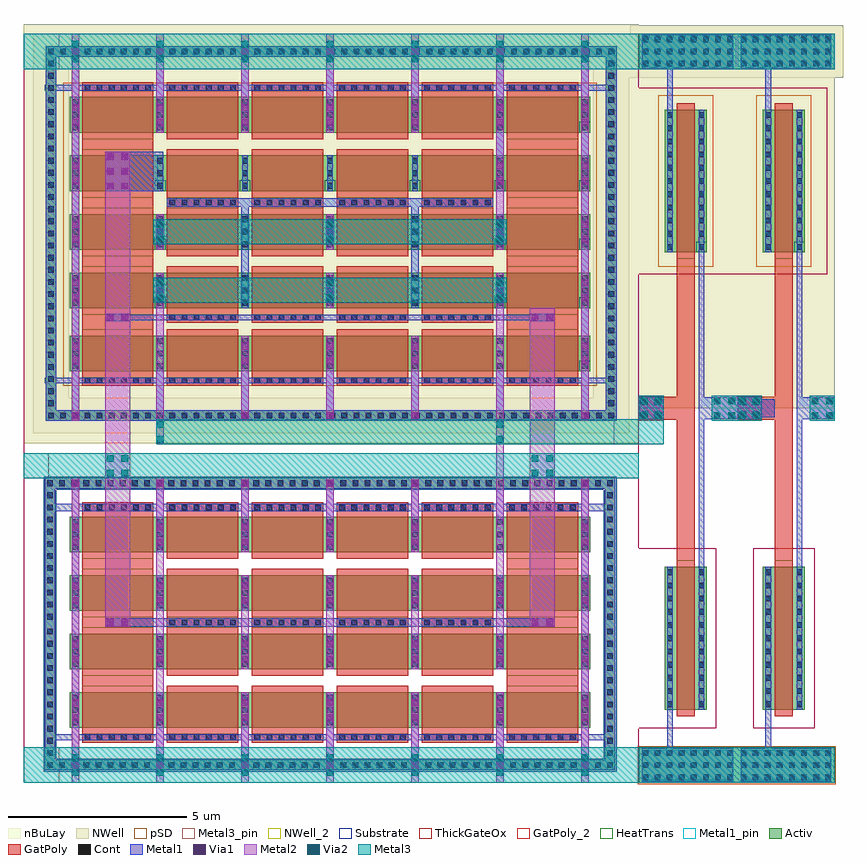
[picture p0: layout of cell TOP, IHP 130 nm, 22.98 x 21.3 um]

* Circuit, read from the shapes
.subckt TOP GND VDD
XM1 GND GND GND GND sg13_hv_nmos w=1u l=2u m=14
XM2 n1 FB_system_0/V_mem GND GND sg13_hv_nmos w=1u l=2u m=2
XM3 n2 FB_system_0/V_mem n1 GND sg13_hv_nmos w=1u l=2u m=2
XM4 n3 FB_system_0/V_mem n2 GND sg13_hv_nmos w=1u l=2u m=2
XM5 inv_1/in FB_system_0/V_mem n3 GND sg13_hv_nmos w=1u l=2u m=2
XM6 GND GND inv_1/in GND sg13_hv_nmos w=1u l=2u m=2
XM7 inv_2/in inv_1/in GND GND sg13_hv_nmos w=4u l=0.5u
XM8 inv_2/out inv_2/in GND GND sg13_hv_nmos w=4u l=0.5u
XM9 VDD VDD VDD VDD sg13_hv_pmos w=1u l=2u m=15
XM10 inv_1/in VDD VDD VDD sg13_hv_pmos w=1u l=2u m=2
XM11 FB_system_0/V_mem VDD VDD VDD sg13_hv_pmos w=1u l=2u
XM12 n4 FB_system_0/V_mem inv_1/in VDD sg13_hv_pmos w=1u l=2u m=4
XM13 n4 n4 VDD VDD sg13_hv_pmos w=1u l=2u m=4
XM14 n5 n4 FB_system_0/V_mem VDD sg13_hv_pmos w=1u l=2u
XM15 n6 n4 n5 VDD sg13_hv_pmos w=1u l=2u
XM16 n7 n4 n6 VDD sg13_hv_pmos w=1u l=2u
XM17 VDD n4 n7 VDD sg13_hv_pmos w=1u l=2u
XM18 inv_2/in inv_1/in VDD VDD sg13_hv_pmos w=4u l=0.5u
XM19 inv_2/out inv_2/in VDD VDD sg13_hv_pmos w=4u l=0.5u
.ends

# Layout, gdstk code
from math import pi, radians
import gdstk
lib = gdstk.Library(unit=1e-6, precision=1e-09)
def R(c, l, rs):  # rectangles x0, y0, x1, y1
    for r in rs: c.add(gdstk.rectangle(r[:2], r[2:], *l))
def A(c, l, x, y, w, h, nx, ny, dx, dy):  # array of equal rectangles
    R(c, l, [(x+i*dx, y+j*dy, x+i*dx+w, y+j*dy+h) for i in range(nx) for j in range(ny)])
def P(c, l, *ps):  # polygons
    for p in ps: c.add(gdstk.Polygon(p, *l))
Activ = (1, 0)
GatPoly = (5, 0)
GatPoly_2 = (5, 2)
Cont = (6, 0)
Metal1 = (8, 0)
Metal1_pin = (8, 2)
Metal2 = (10, 0)
pSD = (14, 0)
Via1 = (19, 0)
Via2 = (29, 0)
Metal3 = (30, 0)
Metal3_pin = (30, 2)
NWell = (31, 0)
NWell_2 = (31, 2)
nBuLay = (32, 0)
Substrate = (40, 0)
ThickGateOx = (44, 0)
HeatTrans = (51, 0)

guard_ring_1 = lib.new_cell('guard_ring$1')
R(guard_ring_1, Activ, [(-8,-4.95,-7.7,4.95), (7.7,-4.95,8,4.95), (-8,4.95,8,5.25)])
P(guard_ring_1, Activ, [(-8,-5.25),(-8,4.95),(-7.7,4.95),(-7.7,-4.95),(7.7,-4.95),(7.7,4.95),(-8,4.95),(-8,5.25),(8,5.25),(8,-5.25)])
A(guard_ring_1, Cont, -7.93, -5.18, 0.16, 0.16, 23, 2, 0.34, 10.2)
A(guard_ring_1, Cont, -0.05, -5.18, 0.16, 0.16, 24, 2, 0.34, 10.2)
A(guard_ring_1, Cont, -7.93, -4.84, 0.16, 0.16, 1, 29, 0, 0.34)
A(guard_ring_1, Cont, 7.77, -4.84, 0.16, 0.16, 1, 29, 0, 0.34)
R(guard_ring_1, Metal1, [(-8,-5.25,8,-4.95), (-8,-4.95,-7.7,4.95), (7.7,-4.95,8,4.95), (-8,4.95,8,5.25)])
R(guard_ring_1, NWell, [(-8.35,-5.6,8.35,5.6)])
R(guard_ring_1, nBuLay, [(-8.35,-4.6,-7.35,4.6), (7.35,-4.6,8.35,4.6), (-8.35,4.6,8.35,5.6)])
P(guard_ring_1, nBuLay, [(-8.35,-5.6),(-8.35,4.6),(-7.35,4.6),(-7.35,-4.6),(7.35,-4.6),(7.35,4.6),(-8.35,4.6),(-8.35,5.6),(8.35,5.6),(8.35,-5.6)])
guard_ring_1.add(gdstk.Label('well', (0,-5.1), layer=63, texttype=0))

via_stack = lib.new_cell('via_stack')
R(via_stack, Metal1, [(-0.105,-0.35,0.105,0.35)])
R(via_stack, Metal2, [(-0.1,-0.35,0.1,0.35)])
R(via_stack, Via1, [(-0.095,-0.3,0.095,-0.11), (-0.095,0.11,0.095,0.3)])

via_stack_1 = lib.new_cell('via_stack$1')
R(via_stack_1, Metal2, [(-0.1,-0.35,0.1,0.35)])
R(via_stack_1, Via2, [(-0.095,-0.3,0.095,-0.11), (-0.095,0.11,0.095,0.3)])
R(via_stack_1, Metal3, [(-0.1,-0.35,0.1,0.35)])

via_stack_2 = lib.new_cell('via_stack$2')
R(via_stack_2, Metal1, [(-0.145,-0.105,0.145,0.105)])
R(via_stack_2, Metal2, [(-0.145,-0.1,0.145,0.1)])
R(via_stack_2, Via1, [(-0.095,-0.095,0.095,0.095)])

pmoshv_2 = lib.new_cell('pmosHV$2')
A(pmoshv_2, Activ, 0, 0, 0.3, 0.3, 5, 1, 2.38, 0)
R(pmoshv_2, Activ, [(0,0,9.82,1)])
A(pmoshv_2, GatPoly, 0.34, -0.18, 2, 1.36, 4, 1, 2.38, 0)
R(pmoshv_2, GatPoly_2, [(0.34,-0.18,2.34,1.18)])
A(pmoshv_2, Cont, 0.07, 0.07, 0.16, 0.16, 5, 3, 2.38, 0.35)
A(pmoshv_2, Metal1, 0.07, 0, 0.16, 1, 5, 1, 2.38, 0)
R(pmoshv_2, Metal1_pin, [(0.07,0,0.23,1), (2.45,0,2.61,1)])
R(pmoshv_2, pSD, [(-0.18,-0.4,10,1.4)])
R(pmoshv_2, NWell, [(-0.62,-0.62,10.44,1.62)])
R(pmoshv_2, Substrate, [(9.52,0,9.82,0.3)])
R(pmoshv_2, ThickGateOx, [(-0.62,-0.62,10.44,1.62)])
A(pmoshv_2, HeatTrans, 0.34, -0.18, 2, 1.36, 4, 1, 2.38, 0)
pmoshv_2.add(gdstk.Label('pmosHV', (1.34,0.5), layer=63, texttype=0))
pmoshv_2.add(gdstk.Label('pmos', (1.34,0.5), layer=51, texttype=0))
pmoshv_2.add(gdstk.Label('pmos', (3.72,0.5), layer=51, texttype=0))
pmoshv_2.add(gdstk.Label('pmos', (6.1,0.5), layer=51, texttype=0))
pmoshv_2.add(gdstk.Label('pmos', (8.48,0.5), layer=51, texttype=0))

pmoshv_3 = lib.new_cell('pmosHV$3')
A(pmoshv_3, Activ, 0, 0, 0.3, 0.3, 7, 1, 2.38, 0)
R(pmoshv_3, Activ, [(0,0,14.58,1)])
A(pmoshv_3, GatPoly, 0.34, -0.18, 2, 1.36, 6, 1, 2.38, 0)
R(pmoshv_3, GatPoly_2, [(0.34,-0.18,2.34,1.18)])
A(pmoshv_3, Cont, 0.07, 0.07, 0.16, 0.16, 7, 3, 2.38, 0.35)
A(pmoshv_3, Metal1, 0.07, 0, 0.16, 1, 7, 1, 2.38, 0)
R(pmoshv_3, Metal1_pin, [(0.07,0,0.23,1), (2.45,0,2.61,1)])
R(pmoshv_3, pSD, [(-0.18,-0.4,14.76,1.4)])
R(pmoshv_3, NWell, [(-0.62,-0.62,15.2,1.62)])
R(pmoshv_3, Substrate, [(14.28,0,14.58,0.3)])
R(pmoshv_3, ThickGateOx, [(-0.62,-0.62,15.2,1.62)])
A(pmoshv_3, HeatTrans, 0.34, -0.18, 2, 1.36, 6, 1, 2.38, 0)
pmoshv_3.add(gdstk.Label('pmosHV', (1.34,0.5), layer=63, texttype=0))
pmoshv_3.add(gdstk.Label('pmos', (1.34,0.5), layer=51, texttype=0))
pmoshv_3.add(gdstk.Label('pmos', (3.72,0.5), layer=51, texttype=0))
pmoshv_3.add(gdstk.Label('pmos', (6.1,0.5), layer=51, texttype=0))
pmoshv_3.add(gdstk.Label('pmos', (8.48,0.5), layer=51, texttype=0))
pmoshv_3.add(gdstk.Label('pmos', (10.86,0.5), layer=51, texttype=0))
pmoshv_3.add(gdstk.Label('pmos', (13.24,0.5), layer=51, texttype=0))

pmoshv = lib.new_cell('pmosHV')
R(pmoshv, Activ, [(0,0,0.3,0.3), (0,0,2.68,1), (2.38,0,2.68,0.3)])
R(pmoshv, GatPoly, [(0.34,-0.18,2.34,1.18)])
R(pmoshv, GatPoly_2, [(0.34,-0.18,2.34,1.18)])
A(pmoshv, Cont, 0.07, 0.07, 0.16, 0.16, 1, 3, 0, 0.35)
A(pmoshv, Cont, 2.45, 0.07, 0.16, 0.16, 1, 3, 0, 0.35)
R(pmoshv, Metal1, [(0.07,0,0.23,1), (2.45,0,2.61,1)])
R(pmoshv, Metal1_pin, [(0.07,0,0.23,1), (2.45,0,2.61,1)])
R(pmoshv, pSD, [(-0.18,-0.4,2.86,1.4)])
R(pmoshv, NWell, [(-0.62,-0.62,3.3,1.62)])
R(pmoshv, Substrate, [(2.38,0,2.68,0.3)])
R(pmoshv, ThickGateOx, [(-0.62,-0.62,3.3,1.62)])
R(pmoshv, HeatTrans, [(0.34,-0.18,2.34,1.18)])
pmoshv.add(gdstk.Label('pmosHV', (1.34,0.5), layer=63, texttype=0))
pmoshv.add(gdstk.Label('pmos', (1.34,0.5), layer=51, texttype=0))

nmoshv = lib.new_cell('nmosHV')
R(nmoshv, Activ, [(0,0,0.3,0.3), (0,0,2.68,1), (2.38,0,2.68,0.3)])
R(nmoshv, GatPoly, [(0.34,-0.18,2.34,1.18)])
R(nmoshv, GatPoly_2, [(0.34,-0.18,2.34,1.18)])
A(nmoshv, Cont, 0.07, 0.07, 0.16, 0.16, 1, 3, 0, 0.35)
A(nmoshv, Cont, 2.45, 0.07, 0.16, 0.16, 1, 3, 0, 0.35)
R(nmoshv, Metal1, [(0.07,0,0.23,1), (2.45,0,2.61,1)])
R(nmoshv, Metal1_pin, [(0.07,0,0.23,1), (2.45,0,2.61,1)])
R(nmoshv, ThickGateOx, [(-0.27,-0.52,2.95,1.52)])
R(nmoshv, HeatTrans, [(0.34,-0.18,2.34,1.18)])
nmoshv.add(gdstk.Label('nmosHV', (1.34,0.5), layer=63, texttype=0))
nmoshv.add(gdstk.Label('nmosHV', (1.34,0.5), layer=51, texttype=0))

nmoshv_2 = lib.new_cell('nmosHV$2')
A(nmoshv_2, Activ, 0, 0, 0.3, 0.3, 7, 1, 2.38, 0)
R(nmoshv_2, Activ, [(0,0,14.58,1)])
A(nmoshv_2, GatPoly, 0.34, -0.18, 2, 1.36, 6, 1, 2.38, 0)
R(nmoshv_2, GatPoly_2, [(0.34,-0.18,2.34,1.18)])
A(nmoshv_2, Cont, 0.07, 0.07, 0.16, 0.16, 7, 3, 2.38, 0.35)
A(nmoshv_2, Metal1, 0.07, 0, 0.16, 1, 7, 1, 2.38, 0)
R(nmoshv_2, Metal1_pin, [(0.07,0,0.23,1), (2.45,0,2.61,1)])
R(nmoshv_2, ThickGateOx, [(-0.27,-0.52,14.85,1.52)])
A(nmoshv_2, HeatTrans, 0.34, -0.18, 2, 1.36, 6, 1, 2.38, 0)
nmoshv_2.add(gdstk.Label('nmosHV', (1.34,0.5), layer=63, texttype=0))
nmoshv_2.add(gdstk.Label('nmosHV', (1.34,0.5), layer=51, texttype=0))
nmoshv_2.add(gdstk.Label('nmosHV', (3.72,0.5), layer=51, texttype=0))
nmoshv_2.add(gdstk.Label('nmosHV', (6.1,0.5), layer=51, texttype=0))
nmoshv_2.add(gdstk.Label('nmosHV', (8.48,0.5), layer=51, texttype=0))
nmoshv_2.add(gdstk.Label('nmosHV', (10.86,0.5), layer=51, texttype=0))
nmoshv_2.add(gdstk.Label('nmosHV', (13.24,0.5), layer=51, texttype=0))

guard_ring = lib.new_cell('guard_ring')
R(guard_ring, Activ, [(-8,-3.8,-7.7,3.8), (7.7,-3.8,8,3.8), (-8,3.8,8,4.1)])
P(guard_ring, Activ, [(-8,-4.1),(-8,3.8),(-7.7,3.8),(-7.7,-3.8),(7.7,-3.8),(7.7,3.8),(-8,3.8),(-8,4.1),(8,4.1),(8,-4.1)])
A(guard_ring, Cont, -7.93, -4.03, 0.16, 0.16, 23, 2, 0.34, 7.9)
A(guard_ring, Cont, -0.05, -4.03, 0.16, 0.16, 24, 2, 0.34, 7.9)
A(guard_ring, Cont, -7.93, -3.69, 0.16, 0.16, 1, 11, 0, 0.34)
A(guard_ring, Cont, 7.77, -3.69, 0.16, 0.16, 1, 11, 0, 0.34)
A(guard_ring, Cont, -7.93, 0.13, 0.16, 0.16, 1, 11, 0, 0.34)
A(guard_ring, Cont, 7.77, 0.13, 0.16, 0.16, 1, 11, 0, 0.34)
R(guard_ring, Metal1, [(-8,-4.1,8,-3.8), (-8,-3.8,-7.7,3.8), (7.7,-3.8,8,3.8), (-8,3.8,8,4.1)])
R(guard_ring, pSD, [(-8.03,-3.77,-7.67,3.77), (7.67,-3.77,8.03,3.77), (-8.03,3.77,8.03,4.13)])
P(guard_ring, pSD, [(-8.03,-4.13),(-8.03,3.77),(-7.67,3.77),(-7.67,-3.77),(7.67,-3.77),(7.67,3.77),(-8.03,3.77),(-8.03,4.13),(8.03,4.13),(8.03,-4.13)])
R(guard_ring, Substrate, [(-8.03,-3.77,-7.67,3.77), (7.67,-3.77,8.03,3.77), (-8.03,3.77,8.03,4.13)])
P(guard_ring, Substrate, [(-8.03,-4.13),(-8.03,3.77),(-7.67,3.77),(-7.67,-3.77),(7.67,-3.77),(7.67,3.77),(-8.03,3.77),(-8.03,4.13),(8.03,4.13),(8.03,-4.13)])
guard_ring.add(gdstk.Label('sub!', (0,-3.95), layer=63, texttype=0))

via_stack_3 = lib.new_cell('via_stack$3')
R(via_stack_3, GatPoly, [(-1,-0.15,1,0.15)])
A(via_stack_3, Cont, -0.93, -0.08, 0.16, 0.16, 6, 1, 0.34, 0)
R(via_stack_3, Metal1, [(-0.98,-0.08,0.98,0.08)])

via_stack_4 = lib.new_cell('via_stack$4')
R(via_stack_4, Metal1, [(-0.35,-0.105,0.35,0.105)])
R(via_stack_4, Metal2, [(-0.35,-0.1,0.35,0.1)])
R(via_stack_4, Via1, [(-0.3,-0.095,-0.11,0.095), (0.11,-0.095,0.3,0.095)])

via_stack_5 = lib.new_cell('via_stack$5')
R(via_stack_5, Metal1, [(-0.31,-0.555,0.31,0.555)])
R(via_stack_5, Metal2, [(-0.305,-0.555,0.305,0.555)])
A(via_stack_5, Via1, -0.3, -0.505, 0.19, 0.19, 1, 3, 0, 0.41)
A(via_stack_5, Via1, 0.11, -0.505, 0.19, 0.19, 1, 3, 0, 0.41)

via_stack_6 = lib.new_cell('via_stack$6')
R(via_stack_6, Metal2, [(-0.35,-0.305,0.35,0.305)])
R(via_stack_6, Via2, [(-0.3,-0.3,-0.11,-0.11), (0.11,-0.3,0.3,-0.11), (-0.3,0.11,-0.11,0.3), (0.11,0.11,0.3,0.3)])
R(via_stack_6, Metal3, [(-0.35,-0.305,0.35,0.305)])

fb_system = lib.new_cell('FB_system')
A(fb_system, GatPoly, 4.02, 2.5, 2, 3, 4, 2, 2.38, 11.765)
R(fb_system, GatPoly, [(1.64,0.86,3.64,7.14), (13.54,0.86,15.54,7.14), (1.64,10.625,3.64,19.135), (13.54,10.625,15.54,19.135)])
A(fb_system, Metal1, 1.345, 1.04, 0.21, 1, 7, 3, 2.38, 1.64)
A(fb_system, Metal1, 1.345, 5.96, 0.21, 1, 4, 1, 2.38, 0)
A(fb_system, Metal1, 6.105, 11.035, 0.21, 1, 3, 1, 2.38, 0)
A(fb_system, Metal1, 1.345, 12.805, 0.21, 1, 1, 3, 0, 1.64)
A(fb_system, Metal1, 15.625, 12.805, 0.21, 1, 1, 3, 0, 1.64)
A(fb_system, Metal1, 3.725, 14.445, 0.21, 1, 3, 1, 4.76, 0)
A(fb_system, Metal1, 1.345, 17.725, 0.21, 1, 7, 1, 2.38, 0)
R(fb_system, Metal1, [(8.485,5.96,8.695,6.96), (10.865,5.96,11.075,6.96), (10.865,5.96,11.075,6.96), (15.625,5.96,15.835,6.96), (15.625,5.96,15.835,6.96), (1.345,11.035,1.555,12.035), (15.625,11.035,15.835,12.035), (3.725,12.805,3.935,13.805), (8.485,12.805,8.695,13.805), (8.485,12.805,8.695,13.805), (13.245,12.805,13.455,13.805), (2.285,16.085,3.91,17.195), (13.245,16.085,13.455,17.085)])
A(fb_system, Metal2, 3.725, 14.445, 0.21, 1, 3, 1, 4.76, 0)
R(fb_system, Metal2, [(8.485,12.805,8.695,13.805)])
R(fb_system, Metal3_pin, [(0,-0.5,1,0.5), (0,8.04,0.7,8.74), (16.54,8.99,17.24,9.69), (0,19.5,1,20.5)])
R(fb_system, NWell, [(0,9.025,17.24,20.77)])
R(fb_system, ThickGateOx, [(0,-0.5,17.24,20.5)])
fb_system.add(gdstk.FlexPath([(6.21,5.32),(6.21,2.68)], 0.21, ends="flush", simple_path=True, layer=10, datatype=0))  # Metal2
fb_system.add(gdstk.FlexPath([(3.83,5.32),(3.83,2.68)], 0.21, ends="flush", simple_path=True, layer=10, datatype=0))  # Metal2
fb_system.add(gdstk.FlexPath([(8.59,5.32),(8.59,2.68)], 0.21, ends="flush", simple_path=True, layer=10, datatype=0))  # Metal2
fb_system.add(gdstk.FlexPath([(10.97,5.32),(10.97,2.68)], 0.21, ends="flush", simple_path=True, layer=10, datatype=0))  # Metal2
fb_system.add(gdstk.FlexPath([(1.45,8.05),(1.45,-0.5)], 0.21, ends="flush", simple_path=True, layer=10, datatype=0))  # Metal2
fb_system.add(gdstk.FlexPath([(15.73,8.05),(15.73,-0.5)], 0.21, ends="flush", simple_path=True, layer=10, datatype=0))  # Metal2
fb_system.add(gdstk.FlexPath([(13.35,2.04),(13.35,-0.5)], 0.21, ends="flush", simple_path=True, layer=10, datatype=0))  # Metal2
fb_system.add(gdstk.FlexPath([(10.97,2.04),(10.97,-0.5)], 0.21, ends="flush", simple_path=True, layer=10, datatype=0))  # Metal2
fb_system.add(gdstk.FlexPath([(8.59,2.04),(8.59,-0.5)], 0.21, ends="flush", simple_path=True, layer=10, datatype=0))  # Metal2
fb_system.add(gdstk.FlexPath([(6.21,2.04),(6.21,-0.5)], 0.21, ends="flush", simple_path=True, layer=10, datatype=0))  # Metal2
fb_system.add(gdstk.FlexPath([(3.83,2.04),(3.83,-0.5)], 0.21, ends="flush", simple_path=True, layer=10, datatype=0))  # Metal2
fb_system.add(gdstk.FlexPath([(3.83,8.05),(3.83,-0.5)], 0.21, ends="flush", simple_path=True, layer=10, datatype=0))  # Metal2
fb_system.add(gdstk.FlexPath([(6.21,5.96),(6.21,8.05)], 0.21, ends="flush", simple_path=True, layer=10, datatype=0))  # Metal2
fb_system.add(gdstk.FlexPath([(8.59,5.96),(8.59,8.05)], 0.21, ends="flush", simple_path=True, layer=10, datatype=0))  # Metal2
fb_system.add(gdstk.FlexPath([(10.97,5.96),(10.97,8.05)], 0.21, ends="flush", simple_path=True, layer=10, datatype=0))  # Metal2
fb_system.add(gdstk.FlexPath([(13.35,13.805),(13.35,2.68)], 0.21, ends="flush", simple_path=True, layer=10, datatype=0))  # Metal2
fb_system.add(gdstk.FlexPath([(2.635,3.88),(2.635,17.195)], 0.7, ends="flush", simple_path=True, layer=10, datatype=0))  # Metal2
fb_system.add(gdstk.FlexPath([(14.54,3.88),(14.54,12.805)], 0.7, ends="flush", simple_path=True, layer=10, datatype=0))  # Metal2
fb_system.add(gdstk.FlexPath([(3.83,13.805),(3.83,8.99)], 0.21, ends="flush", simple_path=True, layer=10, datatype=0))  # Metal2
fb_system.add(gdstk.FlexPath([(3.83,17.725),(3.83,20.5)], 0.21, ends="flush", simple_path=True, layer=10, datatype=0))  # Metal2
fb_system.add(gdstk.FlexPath([(6.21,17.725),(6.21,20.5)], 0.21, ends="flush", simple_path=True, layer=10, datatype=0))  # Metal2
fb_system.add(gdstk.FlexPath([(8.59,17.725),(8.59,20.5)], 0.21, ends="flush", simple_path=True, layer=10, datatype=0))  # Metal2
fb_system.add(gdstk.FlexPath([(10.97,17.725),(10.97,20.5)], 0.21, ends="flush", simple_path=True, layer=10, datatype=0))  # Metal2
fb_system.add(gdstk.FlexPath([(15.73,9.65),(15.73,20.5)], 0.21, ends="flush", simple_path=True, layer=10, datatype=0))  # Metal2
fb_system.add(gdstk.FlexPath([(1.45,9.65),(1.45,20.5)], 0.21, ends="flush", simple_path=True, layer=10, datatype=0))  # Metal2
fb_system.add(gdstk.FlexPath([(10.97,12.035),(10.97,9.65)], 0.21, ends="flush", simple_path=True, layer=10, datatype=0))  # Metal2
fb_system.add(gdstk.FlexPath([(8.59,12.035),(8.59,9.65)], 0.21, ends="flush", simple_path=True, layer=10, datatype=0))  # Metal2
fb_system.add(gdstk.FlexPath([(6.21,12.035),(6.21,9.65)], 0.21, ends="flush", simple_path=True, layer=10, datatype=0))  # Metal2
fb_system.add(gdstk.FlexPath([(13.35,14.445),(13.35,20.5)], 0.21, ends="flush", simple_path=True, layer=10, datatype=0))  # Metal2
fb_system.add(gdstk.FlexPath([(17.24,8.39),(0,8.39)], 0.7, ends="flush", simple_path=True, layer=30, datatype=0))  # Metal3
fb_system.add(gdstk.FlexPath([(3.725,9.34),(17.24,9.34)], 0.7, ends="flush", simple_path=True, layer=30, datatype=0))  # Metal3
fb_system.add(gdstk.FlexPath([(3.64,14.945),(13.54,14.945)], 0.7, ends="flush", simple_path=True, layer=30, datatype=0))  # Metal3
fb_system.add(gdstk.FlexPath([(3.64,13.305),(13.54,13.305)], 0.7, ends="flush", simple_path=True, layer=30, datatype=0))  # Metal3
fb_system.add(gdstk.FlexPath([(0,0),(17.24,0)], 1, ends="flush", simple_path=True, layer=30, datatype=0))  # Metal3
fb_system.add(gdstk.FlexPath([(0,20),(17.24,20)], 1, ends="flush", simple_path=True, layer=30, datatype=0))  # Metal3
fb_system.add(gdstk.FlexPath([(2.285,4),(14.89,4)], 0.24, ends="flush", simple_path=True, layer=8, datatype=0))  # Metal1
fb_system.add(gdstk.FlexPath([(4.02,15.765),(13.16,15.765)], 0.24, ends="flush", simple_path=True, layer=8, datatype=0))  # Metal1
fb_system.add(gdstk.FlexPath([(2.285,12.545),(14.89,12.545)], 0.16, ends="flush", simple_path=True, layer=8, datatype=0))  # Metal1
fb_system.add(gdstk.FlexPath([(0.59,7.22),(16.59,7.22)], 0.21, ends="flush", simple_path=True, layer=8, datatype=0))  # Metal1
fb_system.add(gdstk.FlexPath([(0.59,0.78),(16.59,0.78)], 0.16, ends="flush", simple_path=True, layer=8, datatype=0))  # Metal1
fb_system.add(gdstk.FlexPath([(15.73,8.05),(15.73,5.96)], 0.21, ends="flush", simple_path=True, layer=8, datatype=0))  # Metal1
fb_system.add(gdstk.FlexPath([(3.83,5.96),(3.83,8.05)], 0.21, ends="flush", simple_path=True, layer=8, datatype=0))  # Metal1
fb_system.add(gdstk.FlexPath([(6.21,5.96),(6.21,8.05)], 0.21, ends="flush", simple_path=True, layer=8, datatype=0))  # Metal1
fb_system.add(gdstk.FlexPath([(8.59,5.96),(8.59,8.05)], 0.21, ends="flush", simple_path=True, layer=8, datatype=0))  # Metal1
fb_system.add(gdstk.FlexPath([(10.97,5.96),(10.97,8.05)], 0.21, ends="flush", simple_path=True, layer=8, datatype=0))  # Metal1
fb_system.add(gdstk.FlexPath([(1.45,2.04),(1.45,0)], 0.21, ends="flush", simple_path=True, layer=8, datatype=0))  # Metal1
fb_system.add(gdstk.FlexPath([(1.45,8.05),(1.45,-0.15)], 0.21, ends="flush", simple_path=True, layer=8, datatype=0))  # Metal1
fb_system.add(gdstk.FlexPath([(15.73,2.04),(15.73,0)], 0.21, ends="flush", simple_path=True, layer=8, datatype=0))  # Metal1
fb_system.add(gdstk.FlexPath([(3.83,0),(3.83,2.04)], 0.21, ends="flush", simple_path=True, layer=8, datatype=0))  # Metal1
fb_system.add(gdstk.FlexPath([(6.21,0),(6.21,2.04)], 0.21, ends="flush", simple_path=True, layer=8, datatype=0))  # Metal1
fb_system.add(gdstk.FlexPath([(8.59,0),(8.59,2.04)], 0.21, ends="flush", simple_path=True, layer=8, datatype=0))  # Metal1
fb_system.add(gdstk.FlexPath([(10.97,0),(10.97,2.04)], 0.21, ends="flush", simple_path=True, layer=8, datatype=0))  # Metal1
fb_system.add(gdstk.FlexPath([(13.35,0),(13.35,2.04)], 0.21, ends="flush", simple_path=True, layer=8, datatype=0))  # Metal1
fb_system.add(gdstk.FlexPath([(8.59,0),(8.59,2.04)], 0.21, ends="flush", simple_path=True, layer=8, datatype=0))  # Metal1
fb_system.add(gdstk.FlexPath([(6.21,0),(6.21,2.04)], 0.21, ends="flush", simple_path=True, layer=8, datatype=0))  # Metal1
fb_system.add(gdstk.FlexPath([(3.83,0),(3.83,2.04)], 0.21, ends="flush", simple_path=True, layer=8, datatype=0))  # Metal1
fb_system.add(gdstk.FlexPath([(8.59,5.96),(8.59,8.05)], 0.21, ends="flush", simple_path=True, layer=8, datatype=0))  # Metal1
fb_system.add(gdstk.FlexPath([(10.97,5.96),(10.97,8.05)], 0.21, ends="flush", simple_path=True, layer=8, datatype=0))  # Metal1
fb_system.add(gdstk.FlexPath([(13.35,5.96),(13.35,8.05)], 0.21, ends="flush", simple_path=True, layer=8, datatype=0))  # Metal1
fb_system.add(gdstk.FlexPath([(15.73,-0.15),(15.73,8.05)], 0.21, ends="flush", simple_path=True, layer=8, datatype=0))  # Metal1
fb_system.add(gdstk.FlexPath([(6.21,12.805),(6.21,15.885)], 0.21, ends="flush", simple_path=True, layer=8, datatype=0))  # Metal1
fb_system.add(gdstk.FlexPath([(10.97,12.805),(10.97,15.885)], 0.21, ends="flush", simple_path=True, layer=8, datatype=0))  # Metal1
fb_system.add(gdstk.FlexPath([(15.73,9.65),(15.73,20.15)], 0.21, ends="flush", simple_path=True, layer=8, datatype=0))  # Metal1
fb_system.add(gdstk.FlexPath([(1.45,9.65),(1.45,20.15)], 0.21, ends="flush", simple_path=True, layer=8, datatype=0))  # Metal1
fb_system.add(gdstk.FlexPath([(10.97,12.035),(10.97,9.65)], 0.21, ends="flush", simple_path=True, layer=8, datatype=0))  # Metal1
fb_system.add(gdstk.FlexPath([(8.59,12.035),(8.59,9.65)], 0.21, ends="flush", simple_path=True, layer=8, datatype=0))  # Metal1
fb_system.add(gdstk.FlexPath([(6.21,12.035),(6.21,9.65)], 0.21, ends="flush", simple_path=True, layer=8, datatype=0))  # Metal1
fb_system.add(gdstk.FlexPath([(3.83,12.035),(3.83,9.65)], 0.21, ends="flush", simple_path=True, layer=8, datatype=0))  # Metal1
fb_system.add(gdstk.FlexPath([(13.35,12.035),(13.35,9.65)], 0.21, ends="flush", simple_path=True, layer=8, datatype=0))  # Metal1
fb_system.add(gdstk.FlexPath([(3.83,17.725),(3.83,20.15)], 0.21, ends="flush", simple_path=True, layer=8, datatype=0))  # Metal1
fb_system.add(gdstk.FlexPath([(6.21,17.725),(6.21,20.15)], 0.21, ends="flush", simple_path=True, layer=8, datatype=0))  # Metal1
fb_system.add(gdstk.FlexPath([(8.59,17.725),(8.59,20.15)], 0.21, ends="flush", simple_path=True, layer=8, datatype=0))  # Metal1
fb_system.add(gdstk.FlexPath([(10.97,17.725),(10.97,20.15)], 0.21, ends="flush", simple_path=True, layer=8, datatype=0))  # Metal1
fb_system.add(gdstk.FlexPath([(13.35,16.085),(13.35,20.15)], 0.21, ends="flush", simple_path=True, layer=8, datatype=0))  # Metal1
fb_system.add(gdstk.FlexPath([(0.59,18.985),(16.59,18.985)], 0.16, ends="flush", simple_path=True, layer=8, datatype=0))  # Metal1
fb_system.add(gdstk.FlexPath([(0.59,10.775),(16.59,10.775)], 0.16, ends="flush", simple_path=True, layer=8, datatype=0))  # Metal1
fb_system.add(gdstk.Reference(guard_ring_1, (8.62,14.9)))
fb_system.add(gdstk.Reference(via_stack, (8.59,13.305)))
fb_system.add(gdstk.Reference(via_stack_1, (8.59,13.305)))
fb_system.add(gdstk.Reference(via_stack, (8.59,13.305)))
fb_system.add(gdstk.Reference(via_stack_1, (8.59,14.945)))
fb_system.add(gdstk.Reference(via_stack, (8.59,14.945)))
fb_system.add(gdstk.Reference(via_stack_1, (8.59,20)))
fb_system.add(gdstk.Reference(via_stack_2, (8.59,20), rotation=pi/2))
fb_system.add(gdstk.Reference(via_stack, (8.59,18.225)))
fb_system.add(gdstk.Reference(via_stack, (8.59,11.535)))
fb_system.add(gdstk.Reference(pmoshv_2, (3.68,12.805)))
fb_system.add(gdstk.Reference(pmoshv_3, (1.3,11.035)))
fb_system.add(gdstk.Reference(pmoshv_3, (1.3,17.725)))
fb_system.add(gdstk.Reference(pmoshv_2, (3.68,14.445)))
fb_system.add(gdstk.Reference(pmoshv, (6.06,16.085)))
fb_system.add(gdstk.Reference(pmoshv, (8.44,16.085)))
fb_system.add(gdstk.Reference(nmoshv, (6.06,2.68)))
fb_system.add(gdstk.Reference(nmoshv, (8.44,2.68)))
fb_system.add(gdstk.Reference(nmoshv_2, (1.3,5.96)))
fb_system.add(gdstk.Reference(nmoshv, (6.06,4.32)))
fb_system.add(gdstk.Reference(nmoshv_2, (1.3,1.04)))
fb_system.add(gdstk.Reference(nmoshv, (8.44,4.32)))
fb_system.add(gdstk.Reference(via_stack, (8.59,3.18)))
fb_system.add(gdstk.Reference(via_stack, (8.59,4.82)))
fb_system.add(gdstk.Reference(via_stack, (8.59,1.54)))
fb_system.add(gdstk.Reference(via_stack_1, (8.59,0)))
fb_system.add(gdstk.Reference(via_stack_2, (8.59,0), rotation=pi/2))
fb_system.add(gdstk.Reference(via_stack, (8.59,6.46)))
fb_system.add(gdstk.Reference(via_stack_2, (8.59,7.9), rotation=pi/2))
fb_system.add(gdstk.Reference(guard_ring, (8.59,3.95)))
fb_system.add(gdstk.Reference(via_stack_2, (8.59,9.8), rotation=pi/2))
fb_system.add(gdstk.Reference(via_stack, (15.73,14.945)))
fb_system.add(gdstk.Reference(via_stack, (15.73,13.305)))
fb_system.add(gdstk.Reference(via_stack, (13.35,16.585)))
fb_system.add(gdstk.Reference(via_stack, (15.73,11.535)))
fb_system.add(gdstk.Reference(via_stack, (10.97,11.535)))
fb_system.add(gdstk.Reference(via_stack, (13.35,13.305)))
fb_system.add(gdstk.Reference(via_stack_3, (12.16,12.545)))
fb_system.add(gdstk.Reference(via_stack_3, (12.16,18.985)))
fb_system.add(gdstk.Reference(via_stack_3, (14.54,18.985)))
fb_system.add(gdstk.Reference(via_stack_3, (9.78,18.985)))
fb_system.add(gdstk.Reference(via_stack_3, (12.16,10.775)))
fb_system.add(gdstk.Reference(via_stack_3, (14.54,10.775)))
fb_system.add(gdstk.Reference(via_stack_3, (9.78,10.775)))
fb_system.add(gdstk.Reference(via_stack_3, (12.16,15.765)))
fb_system.add(gdstk.Reference(via_stack_1, (13.35,13.305)))
fb_system.add(gdstk.Reference(via_stack_4, (14.54,12.545)))
fb_system.add(gdstk.Reference(via_stack_3, (9.78,15.765)))
fb_system.add(gdstk.Reference(via_stack, (13.35,14.945)))
fb_system.add(gdstk.Reference(pmoshv, (10.82,16.085)))
fb_system.add(gdstk.Reference(via_stack_1, (13.35,14.945)))
fb_system.add(gdstk.Reference(pmoshv, (13.2,12.805)))
fb_system.add(gdstk.Reference(via_stack_1, (15.73,20)))
fb_system.add(gdstk.Reference(via_stack_2, (15.73,20), rotation=pi/2))
fb_system.add(gdstk.Reference(pmoshv, (13.2,14.445)))
fb_system.add(gdstk.Reference(pmoshv, (13.2,16.085)))
fb_system.add(gdstk.Reference(via_stack_3, (9.78,12.545)))
fb_system.add(gdstk.Reference(via_stack_1, (10.97,20)))
fb_system.add(gdstk.Reference(via_stack_2, (10.97,20), rotation=pi/2))
fb_system.add(gdstk.Reference(via_stack, (10.97,18.225)))
fb_system.add(gdstk.Reference(via_stack_1, (13.35,20)))
fb_system.add(gdstk.Reference(via_stack_2, (13.35,20), rotation=pi/2))
fb_system.add(gdstk.Reference(via_stack, (13.35,18.225)))
fb_system.add(gdstk.Reference(via_stack, (15.73,18.225)))
fb_system.add(gdstk.Reference(via_stack, (15.73,16.585)))
fb_system.add(gdstk.Reference(via_stack, (1.45,16.585)))
fb_system.add(gdstk.Reference(via_stack, (1.45,14.945)))
fb_system.add(gdstk.Reference(via_stack, (1.45,13.305)))
fb_system.add(gdstk.Reference(via_stack, (1.45,11.535)))
fb_system.add(gdstk.Reference(via_stack_1, (3.83,13.305)))
fb_system.add(gdstk.Reference(via_stack_1, (6.21,20)))
fb_system.add(gdstk.Reference(via_stack_2, (6.21,20), rotation=pi/2))
fb_system.add(gdstk.Reference(via_stack, (6.21,18.225)))
fb_system.add(gdstk.Reference(via_stack, (6.21,11.535)))
fb_system.add(gdstk.Reference(pmoshv, (1.3,16.085)))
fb_system.add(gdstk.Reference(via_stack_3, (7.4,12.545)))
fb_system.add(gdstk.Reference(via_stack_3, (7.4,18.985)))
fb_system.add(gdstk.Reference(via_stack_4, (2.635,12.545)))
fb_system.add(gdstk.Reference(via_stack_3, (2.64,18.985)))
fb_system.add(gdstk.Reference(via_stack_3, (5.02,18.985)))
fb_system.add(gdstk.Reference(via_stack_3, (7.4,15.765)))
fb_system.add(gdstk.Reference(via_stack_3, (5.02,15.765)))
fb_system.add(gdstk.Reference(via_stack_3, (7.4,10.775)))
fb_system.add(gdstk.Reference(via_stack_1, (3.83,20)))
fb_system.add(gdstk.Reference(via_stack_3, (2.64,10.775)))
fb_system.add(gdstk.Reference(via_stack_3, (5.02,10.775)))
fb_system.add(gdstk.Reference(via_stack_2, (3.83,20), rotation=pi/2))
fb_system.add(gdstk.Reference(via_stack_5, (2.635,16.64)))
fb_system.add(gdstk.Reference(via_stack, (3.83,18.225)))
fb_system.add(gdstk.Reference(via_stack_1, (3.83,14.945)))
fb_system.add(gdstk.Reference(via_stack_3, (5.02,12.545)))
fb_system.add(gdstk.Reference(via_stack, (3.83,14.945)))
fb_system.add(gdstk.Reference(via_stack_1, (1.45,20)))
fb_system.add(gdstk.Reference(pmoshv, (1.3,12.805)))
fb_system.add(gdstk.Reference(via_stack, (3.83,13.305)))
fb_system.add(gdstk.Reference(pmoshv, (1.3,14.445)))
fb_system.add(gdstk.Reference(pmoshv, (3.68,16.085)))
fb_system.add(gdstk.Reference(via_stack_2, (1.45,20), rotation=pi/2))
fb_system.add(gdstk.Reference(via_stack_1, (1.45,20)))
fb_system.add(gdstk.Reference(via_stack_2, (1.45,20), rotation=pi/2))
fb_system.add(gdstk.Reference(via_stack, (1.45,18.225)))
fb_system.add(gdstk.Reference(nmoshv, (3.68,2.68)))
fb_system.add(gdstk.Reference(via_stack_3, (5.02,7.22)))
fb_system.add(gdstk.Reference(via_stack_3, (2.64,7.22)))
fb_system.add(gdstk.Reference(via_stack_3, (7.4,7.22)))
fb_system.add(gdstk.Reference(via_stack_3, (5.02,0.78)))
fb_system.add(gdstk.Reference(via_stack_3, (2.64,0.78)))
fb_system.add(gdstk.Reference(via_stack_2, (1.45,9.8), rotation=pi/2))
fb_system.add(gdstk.Reference(via_stack_3, (7.4,0.78)))
fb_system.add(gdstk.Reference(via_stack, (1.45,3.18)))
fb_system.add(gdstk.Reference(via_stack, (1.45,1.54)))
fb_system.add(gdstk.Reference(nmoshv, (3.68,4.32)))
fb_system.add(gdstk.Reference(via_stack, (1.45,6.46)))
fb_system.add(gdstk.Reference(nmoshv, (1.3,2.68)))
fb_system.add(gdstk.Reference(nmoshv, (1.3,4.32)))
fb_system.add(gdstk.Reference(via_stack_1, (1.45,0)))
fb_system.add(gdstk.Reference(via_stack_2, (1.45,0), rotation=pi/2))
fb_system.add(gdstk.Reference(via_stack_2, (6.21,9.8), rotation=pi/2))
fb_system.add(gdstk.Reference(via_stack_3, (7.4,4)))
fb_system.add(gdstk.Reference(via_stack, (6.21,3.18)))
fb_system.add(gdstk.Reference(via_stack, (6.21,4.82)))
fb_system.add(gdstk.Reference(via_stack, (3.83,3.18)))
fb_system.add(gdstk.Reference(via_stack, (6.21,1.54)))
fb_system.add(gdstk.Reference(via_stack_1, (6.21,0)))
fb_system.add(gdstk.Reference(via_stack_2, (6.21,0), rotation=pi/2))
fb_system.add(gdstk.Reference(via_stack, (3.83,1.54)))
fb_system.add(gdstk.Reference(via_stack_1, (3.83,0)))
fb_system.add(gdstk.Reference(via_stack_2, (3.83,0), rotation=pi/2))
fb_system.add(gdstk.Reference(via_stack_2, (3.83,7.9), rotation=pi/2))
fb_system.add(gdstk.Reference(via_stack_2, (1.45,7.9), rotation=pi/2))
fb_system.add(gdstk.Reference(via_stack, (6.21,6.46)))
fb_system.add(gdstk.Reference(via_stack_2, (6.21,7.9), rotation=pi/2))
fb_system.add(gdstk.Reference(via_stack, (3.83,4.82)))
fb_system.add(gdstk.Reference(via_stack_3, (5.02,4)))
fb_system.add(gdstk.Reference(via_stack_4, (2.635,4)))
fb_system.add(gdstk.Reference(via_stack_6, (2.635,8.39)))
fb_system.add(gdstk.Reference(via_stack_1, (3.83,9.34)))
fb_system.add(gdstk.Reference(via_stack, (3.83,6.46)))
fb_system.add(gdstk.Reference(via_stack, (1.45,4.82)))
fb_system.add(gdstk.Reference(via_stack_6, (14.54,8.39)))
fb_system.add(gdstk.Reference(via_stack_1, (13.35,9.34)))
fb_system.add(gdstk.Reference(via_stack_3, (9.78,7.22)))
fb_system.add(gdstk.Reference(via_stack_1, (15.73,0)))
fb_system.add(gdstk.Reference(nmoshv, (10.82,4.32)))
fb_system.add(gdstk.Reference(via_stack_2, (15.73,0), rotation=pi/2))
fb_system.add(gdstk.Reference(via_stack, (13.35,1.54)))
fb_system.add(gdstk.Reference(via_stack_3, (14.54,7.22)))
fb_system.add(gdstk.Reference(via_stack_1, (13.35,0)))
fb_system.add(gdstk.Reference(via_stack_2, (13.35,0), rotation=pi/2))
fb_system.add(gdstk.Reference(via_stack, (10.97,1.54)))
fb_system.add(gdstk.Reference(via_stack_1, (10.97,0)))
fb_system.add(gdstk.Reference(via_stack_2, (10.97,0), rotation=pi/2))
fb_system.add(gdstk.Reference(via_stack_3, (12.16,7.22)))
fb_system.add(gdstk.Reference(via_stack_3, (12.16,4)))
fb_system.add(gdstk.Reference(via_stack, (10.97,3.18)))
fb_system.add(gdstk.Reference(via_stack_3, (9.78,0.78)))
fb_system.add(gdstk.Reference(via_stack, (10.97,4.82)))
fb_system.add(gdstk.Reference(via_stack_2, (15.73,9.8), rotation=pi/2))
fb_system.add(gdstk.Reference(via_stack_3, (14.54,0.78)))
fb_system.add(gdstk.Reference(via_stack_2, (10.97,9.8), rotation=pi/2))
fb_system.add(gdstk.Reference(via_stack_3, (12.16,0.78)))
fb_system.add(gdstk.Reference(via_stack, (13.35,3.18)))
fb_system.add(gdstk.Reference(via_stack, (13.35,4.82)))
fb_system.add(gdstk.Reference(via_stack, (15.73,4.82)))
fb_system.add(gdstk.Reference(via_stack, (15.73,3.18)))
fb_system.add(gdstk.Reference(via_stack, (15.73,1.54)))
fb_system.add(gdstk.Reference(via_stack, (15.73,6.46)))
fb_system.add(gdstk.Reference(nmoshv, (10.82,2.68)))
fb_system.add(gdstk.Reference(via_stack_3, (9.78,4)))
fb_system.add(gdstk.Reference(via_stack, (10.97,6.46)))
fb_system.add(gdstk.Reference(via_stack_2, (10.97,7.9), rotation=pi/2))
fb_system.add(gdstk.Reference(nmoshv, (13.2,2.68)))
fb_system.add(gdstk.Reference(via_stack_4, (14.54,4)))
fb_system.add(gdstk.Reference(via_stack, (15.73,6.46)))
fb_system.add(gdstk.Reference(via_stack_2, (15.73,7.9), rotation=pi/2))
fb_system.add(gdstk.Reference(nmoshv, (13.2,4.32)))
fb_system.add(gdstk.Label('GND', (0.035,0), layer=30, texttype=25))
fb_system.add(gdstk.Label('V_mem', (0.025,8.39), layer=30, texttype=25))
fb_system.add(gdstk.Label('VDD', (0.035,20), layer=30, texttype=25))
fb_system.add(gdstk.Label('out', (17.22,9.34), layer=30, texttype=25))

nmoshv_1 = lib.new_cell('nmosHV$1')
R(nmoshv_1, Activ, [(0,0,0.3,0.3), (0,0,1.18,4), (0.88,0,1.18,0.3)])
R(nmoshv_1, GatPoly, [(0.34,-0.18,0.84,4.18)])
R(nmoshv_1, GatPoly_2, [(0.34,-0.18,0.84,4.18)])
A(nmoshv_1, Cont, 0.07, 0.07, 0.16, 0.16, 1, 11, 0, 0.37)
A(nmoshv_1, Cont, 0.95, 0.07, 0.16, 0.16, 1, 11, 0, 0.37)
R(nmoshv_1, Metal1, [(0.07,0,0.23,4), (0.95,0,1.11,4)])
R(nmoshv_1, Metal1_pin, [(0.07,0,0.23,4), (0.95,0,1.11,4)])
R(nmoshv_1, ThickGateOx, [(-0.27,-0.52,1.45,4.52)])
R(nmoshv_1, HeatTrans, [(0.34,-0.18,0.84,4.18)])
nmoshv_1.add(gdstk.Label('nmosHV', (0.59,2), layer=63, texttype=0))
nmoshv_1.add(gdstk.Label('nmosHV', (0.59,2), layer=51, texttype=0))

pmoshv_1 = lib.new_cell('pmosHV$1')
R(pmoshv_1, Activ, [(0,0,0.3,0.3), (0,0,1.18,4), (0.88,0,1.18,0.3)])
R(pmoshv_1, GatPoly, [(0.34,-0.18,0.84,4.18)])
R(pmoshv_1, GatPoly_2, [(0.34,-0.18,0.84,4.18)])
A(pmoshv_1, Cont, 0.07, 0.07, 0.16, 0.16, 1, 11, 0, 0.37)
A(pmoshv_1, Cont, 0.95, 0.07, 0.16, 0.16, 1, 11, 0, 0.37)
R(pmoshv_1, Metal1, [(0.07,0,0.23,4), (0.95,0,1.11,4)])
R(pmoshv_1, Metal1_pin, [(0.07,0,0.23,4), (0.95,0,1.11,4)])
R(pmoshv_1, pSD, [(-0.18,-0.4,1.36,4.4)])
R(pmoshv_1, NWell, [(-0.62,-0.62,1.8,4.62)])
R(pmoshv_1, Substrate, [(0.88,0,1.18,0.3)])
R(pmoshv_1, ThickGateOx, [(-0.62,-0.62,1.8,4.62)])
R(pmoshv_1, HeatTrans, [(0.34,-0.18,0.84,4.18)])
pmoshv_1.add(gdstk.Label('pmosHV', (0.59,2), layer=63, texttype=0))
pmoshv_1.add(gdstk.Label('pmos', (0.59,2), layer=51, texttype=0))

ntap1_2 = lib.new_cell('ntap1$2')
R(ntap1_2, Activ, [(0,0,2.75,1)])
A(ntap1_2, Cont, 0.105, 0.08, 0.16, 0.16, 8, 3, 0.34, 0.34)
R(ntap1_2, Metal1, [(0.105,0.03,2.645,0.97)])
R(ntap1_2, Metal1_pin, [(0.105,0.03,2.645,0.97), (0.105,0.08,2.645,0.92)])
R(ntap1_2, NWell, [(-0.24,-0.24,2.99,1.24), (0,0,2.75,1)])
R(ntap1_2, NWell_2, [(0,0,2.75,1)])
R(ntap1_2, nBuLay, [(-0.24,-0.24,2.99,1.24)])
ntap1_2.add(gdstk.Label('well', (1.375,0.01), layer=31, texttype=0))
ntap1_2.add(gdstk.Label('well', (1.375,0.01), layer=63, texttype=0))

ptap1_1 = lib.new_cell('ptap1$1')
R(ptap1_1, Activ, [(0,0,2.75,1)])
A(ptap1_1, Cont, 0.105, 0.08, 0.16, 0.16, 8, 3, 0.34, 0.34)
R(ptap1_1, Metal1, [(0.105,0.03,2.645,0.97), (0.105,0.08,2.645,0.92)])
R(ptap1_1, Metal1_pin, [(0.105,0.08,2.645,0.92)])
R(ptap1_1, pSD, [(-0.03,-0.03,2.78,1.03)])
R(ptap1_1, Substrate, [(0,0,2.75,1)])
ptap1_1.add(gdstk.Label('sub!', (1.375,0.01), layer=63, texttype=0))
ptap1_1.add(gdstk.Label('sub!', (1.375,0.01), layer=40, texttype=0))

via_stack_9 = lib.new_cell('via_stack$9')
R(via_stack_9, GatPoly, [(-0.32,-0.32,0.32,0.32)])
R(via_stack_9, Cont, [(-0.25,-0.25,-0.09,-0.09), (0.09,-0.25,0.25,-0.09), (-0.25,0.09,-0.09,0.25), (0.09,0.09,0.25,0.25)])
R(via_stack_9, Metal1, [(-0.35,-0.31,0.35,0.31)])
R(via_stack_9, Metal2, [(-0.35,-0.305,0.35,0.305)])
R(via_stack_9, Via1, [(-0.3,-0.3,-0.11,-0.11), (0.11,-0.3,0.3,-0.11), (-0.3,0.11,-0.11,0.3), (0.11,0.11,0.3,0.3)])
R(via_stack_9, Via2, [(-0.3,-0.3,-0.11,-0.11), (0.11,-0.3,0.3,-0.11), (-0.3,0.11,-0.11,0.3), (0.11,0.11,0.3,0.3)])
R(via_stack_9, Metal3, [(-0.35,-0.305,0.35,0.305)])

via_stack_8 = lib.new_cell('via_stack$8')
R(via_stack_8, Metal1, [(-0.35,-0.31,0.35,0.31)])
R(via_stack_8, Metal2, [(-0.35,-0.305,0.35,0.305)])
R(via_stack_8, Via1, [(-0.3,-0.3,-0.11,-0.11), (0.11,-0.3,0.3,-0.11), (-0.3,0.11,-0.11,0.3), (0.11,0.11,0.3,0.3)])
R(via_stack_8, Via2, [(-0.3,-0.3,-0.11,-0.11), (0.11,-0.3,0.3,-0.11), (-0.3,0.11,-0.11,0.3), (0.11,0.11,0.3,0.3)])
R(via_stack_8, Metal3, [(-0.35,-0.305,0.35,0.305)])

inv = lib.new_cell('inv')
R(inv, GatPoly, [(1.07,5.48,1.57,14.495), (0.03,9.68,1.07,10.32)])
R(inv, Metal1, [(0.8,-0.25,0.96,5.555), (1.68,1.555,1.84,18.37), (1.84,9.69,2.75,10.31), (0.8,14.37,0.96,20.25)])
R(inv, Metal3, [(0,-0.5,2.75,0.5), (0,9.65,0.7,10.35), (2.05,9.65,2.75,10.35), (0,19.5,2.75,20.5)])
R(inv, Metal3_pin, [(0,-0.5,2.75,0.5), (0,9.65,0.7,10.35), (2.05,9.65,2.75,10.35), (0,19.5,2.75,20.5)])
R(inv, NWell, [(0,10,2.75,20)])
inv.add(gdstk.Reference(nmoshv_1, (0.73,1.555)))
inv.add(gdstk.Reference(pmoshv_1, (0.73,14.37)))
inv.add(gdstk.Reference(ntap1_2, (0,19.5)))
inv.add(gdstk.Reference(ptap1_1, (0,-0.5)))
inv.add(gdstk.Reference(via_stack_9, (0.35,10)))
inv.add(gdstk.Reference(via_stack_8, (2.4,10)))
inv.add(gdstk.Label('in', (0.35,10.04), layer=30, texttype=25))
inv.add(gdstk.Label('out', (2.4,10.04), layer=30, texttype=25))
inv.add(gdstk.Label('VDD', (1.234,20.419), layer=30, texttype=25))
inv.add(gdstk.Label('VSS', (1.698,-0.452), layer=30, texttype=25))

top = lib.new_cell('TOP')
R(top, Metal1, [(19.08,10.25,21.06,10.75)])
R(top, Metal3, [(19.29,10.15,20.69,10.85), (19.49,10.25,20.49,10.75)])
R(top, nBuLay, [(16.97,19.76,17,21)])
R(top, ThickGateOx, [(17.24,1.535,17.7,6.575), (17.24,14.25,17.35,19.49), (19.77,14.25,20.1,19.49)])
top.add(gdstk.FlexPath([(17.59,10.5),(17.59,9.84),(17.24,9.84)], 0.7, ends="flush", simple_path=True, layer=30, datatype=0))  # Metal3
top.add(gdstk.Reference(fb_system, (0,0.5)))
top.add(gdstk.Reference(inv, (17.24,0.5)))
top.add(gdstk.Reference(inv, (19.99,0.5)))

lib.write_gds('TOP.gds')
